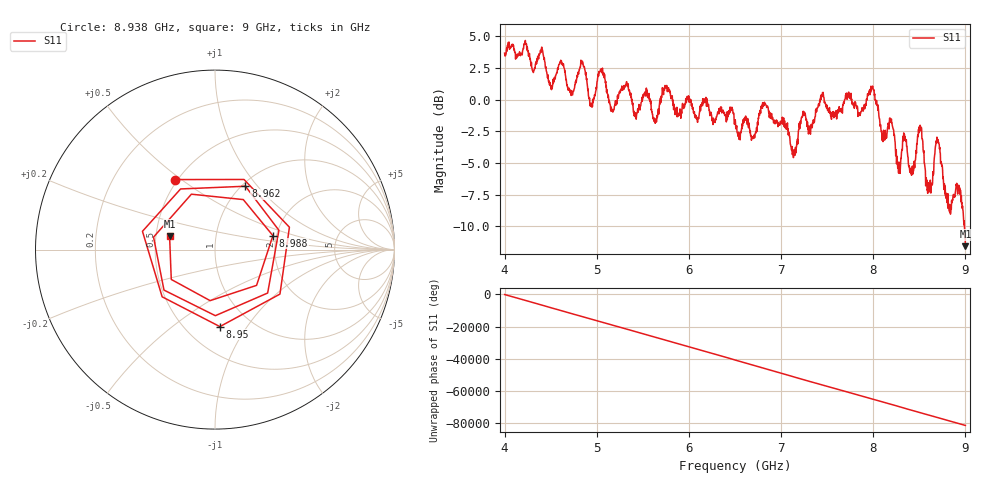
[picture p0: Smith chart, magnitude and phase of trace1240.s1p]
! Created with skrf 1.8.0 (http://scikit-rf.org).
# Hz S RI R 50.0
!freq ReS11 ImS11
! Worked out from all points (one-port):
!   1601 points, 4 GHz to 9 GHz, reference 50 ohm
!   lowest |S11| = -11.6 dB at 9 GHz (marker M1), VSWR 1.72, Z = 29.5 + j4.72 ohm
!   |S11| at or under -10 dB: 8.989757 GHz to end of sweep
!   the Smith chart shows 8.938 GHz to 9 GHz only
!   S11 on the Smith chart (normalised r, x): 8.938 GHz: 0.49, +0.47; 8.95 GHz: 0.72, -0.76; 8.962 GHz: 1.04, +0.87; 8.988 GHz: 1.91, +0.33; 9 GHz: 0.59, +0.09
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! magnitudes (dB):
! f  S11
! 4 GHz  3.7
! 4.625 GHz  2.9
! 4.728 GHz  0.5
! 4.85 GHz  2.9
! 4.938 GHz  -0.3
! 5.041 GHz  2.4
! 5.162 GHz  -0.9
! 5.25 GHz  0.5
! 5.875 GHz  -1.2
! 6.5 GHz  -1.8
! 6.697 GHz  -3.1
! 6.831 GHz  -0.4
! 7.125 GHz  -4.2
! 7.441 GHz  0.2
! 7.75 GHz  0.5
! 7.994 GHz  1.1
! 8.269 GHz  -5.4
! 8.375 GHz  -4.5
! 8.431 GHz  -5.8
! 8.509 GHz  -2.0
! 8.609 GHz  -7.3
! 8.697 GHz  -3.4
! 8.822 GHz  -8.8
! 8.938 GHz  -7.0
! 8.95 GHz  -7.3
! 8.962 GHz  -8.1
! 8.988 GHz  -9.6
! 9 GHz  -11.6
